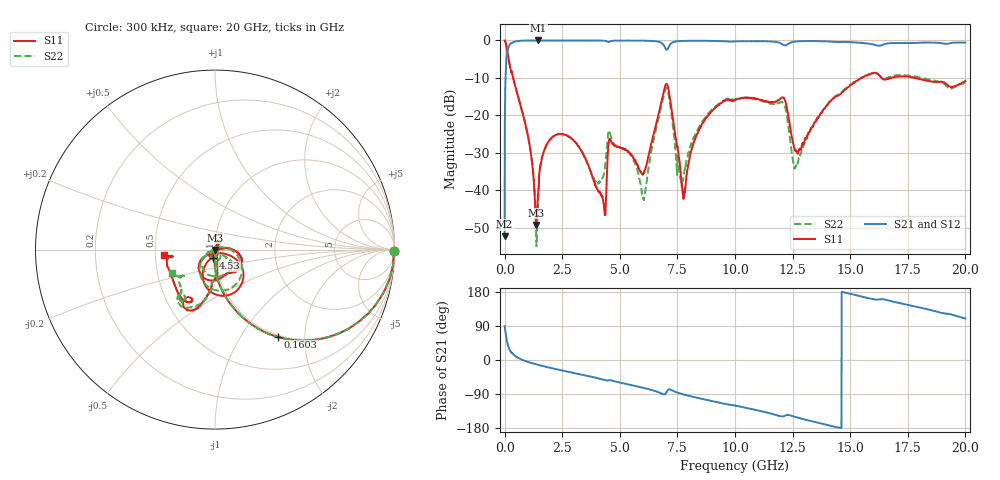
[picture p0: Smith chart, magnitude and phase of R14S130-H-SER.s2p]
!{R14S130}
!Johanson Technology Inc.
!www.johansontechnology.com
!Test Board Conditions:
!Substrate Type  RO4350B
!Substrate Thickness  20 mil
!Substrate Dk  3.66
!TL Type: GCPW
!TL Trace Width  36 mil
!TL Gap  12 mil
!Electrode orientation  Horizontal
!DUT TOPOLOGY	SERIES
!Mounting Pad LxW  26x36 mil
! Created Wed Nov 25 17:33:21 2020
! 2 Port Network Data from SP1.SP block
! freq  magS11  angS11  magS21  angS21  magS12  angS12  magS22  angS22
# khz S ma R 50
! decimated to every 10th point (10 MHz spacing) of the original 1 MHz Johanson file; values unchanged
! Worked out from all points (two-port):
!   2001 points, 300 kHz to 20 GHz, reference 50 ohm
!   highest |S21| = -0.01 dB at 1.47 GHz (marker M1); lowest = -52.2 dB at 300 kHz (marker M2)
!   |S21| within 3 dB of the highest: 122.6 MHz to end of sweep
!   lowest |S11| = -49.2 dB at 1.36 GHz (marker M3), VSWR 1.01, Z = 50.3 - j0.22 ohm
!   |S11| at or under -10 dB: 370.3 MHz to 15.5 GHz (15.12 GHz wide, 191 % of centre); 16.36 GHz to 16.79 GHz (429.2 MHz wide, 2.59 % of centre); 17.82 GHz to end of sweep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
!   |S22| runs from -54.8 to 0.0 dB; largest |S21 - S12| = 0.02
!   S11 on the Smith chart (normalised r, x): 300 kHz: open; 160.3 MHz: 0.97, -1.48; 4.53 GHz: 0.98, -0.09; 20 GHz: 0.55, -0.04
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300  0.9963 -0.3  0.002444 89.2  0.002475 90.0  0.996 -0.3
110300  0.7401 -43.1  0.6692 46.8  0.6705 46.7  0.7406 -43.0
160300  0.5995 -54.2  0.7949 35.8  0.797 35.5  0.6025 -54.1
1050300  0.04638 -93.3  0.9977 -5.8  0.9982 -5.8  0.04738 -96.4
1360300  0.003478 -39.0  0.9991 -11.2  0.999 -11.3  0.003064 -130.6
1470300  0.01036 53.8  0.9993 -13.0  0.9983 -13.0  0.00896 91.5
1610300  0.02631 67.5  0.9984 -15.2  0.9989 -15.2  0.02633 78.7
2020300  0.04955 64.1  0.9974 -21.2  0.998 -21.2  0.04982 71.2
3340300  0.03364 55.9  0.9978 -38.8  0.9975 -38.7  0.03329 43.5
4310300  0.006475 110.9  0.9921 -51.9  0.9919 -51.9  0.01663 -44.9
4530300  0.04648 -102.3  0.9523 -53.1  0.9537 -53.2  0.0631 -82.0
6040300  0.01697 -80.9  0.9918 -73.7  0.9918 -73.7  0.007597 114.4
6670300  0.09995 -22.3  0.9667 -84.8  0.9659 -84.8  0.08734 -0.5
7080300  0.2456 -91.5  0.7718 -79.9  0.7711 -79.9  0.2157 -97.1
7780300  0.008411 -49.4  0.9863 -91.2  0.9865 -91.1  0.01607 -55.4
8540300  0.07319 4.5  0.9901 -102.2  0.9882 -102.2  0.07886 -35.9
1.00003e7  0.1598 -27.0  0.9721 -120.1  0.971 -120.1  0.164 -39.3
1.20803e7  0.1742 -101.0  0.878 -148.7  0.8811 -148.7  0.1482 -95.7
1.26203e7  0.03415 -122.1  0.9677 -150.3  0.97 -150.5  0.02051 -119.5
1.33403e7  0.07015 -74.5  0.982 -162.0  0.9828 -161.9  0.0695 -86.1
1.66703e7  0.3067 -114.3  0.9168 156.9  0.9101 156.5  0.3237 -121.1
2e7  0.2884 -173.6  0.9353 109.3  0.9326 109.5  0.2759 -151.2
